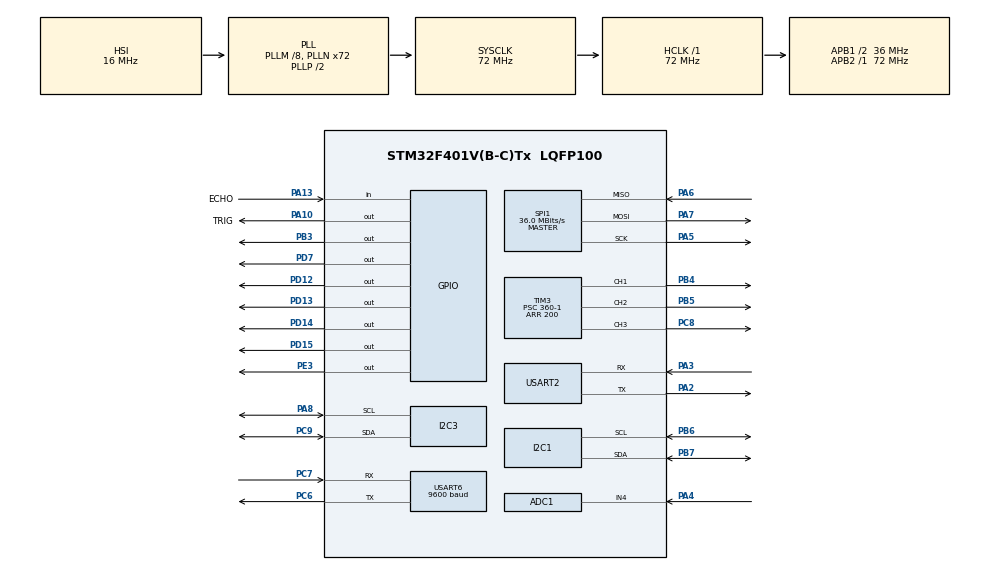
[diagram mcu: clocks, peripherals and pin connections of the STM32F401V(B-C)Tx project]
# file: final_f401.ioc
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ADC1.Channel-0\#ChannelRegularConversion=ADC_CHANNEL_4
ADC1.NbrOfConversionFlag=1
ADC1.Rank-0\#ChannelRegularConversion=1
ADC1.SamplingTime-0\#ChannelRegularConversion=ADC_SAMPLETIME_3CYCLES
ADC1.master=1
Mcu.Family=STM32F4
Mcu.Name=STM32F401V(B-C)Tx
Mcu.Package=LQFP100
NVIC.PriorityGroup=NVIC_PRIORITYGROUP_4
NVIC.TIM2_IRQn=true\:0\:0\:false\:false\:true\:true\:true
NVIC.TIM3_IRQn=true\:0\:0\:false\:false\:true\:true\:true
NVIC.TIM4_IRQn=true\:0\:0\:false\:false\:true\:true\:true
NVIC.USART2_IRQn=true\:0\:0\:false\:false\:true\:true\:true
NVIC.USART6_IRQn=true\:0\:0\:false\:false\:true\:true\:true
PA10.GPIO_Label=TRIG
PA10.Signal=GPIO_Output
PA13.GPIO_Label=ECHO
PA13.GPIO_PuPd=GPIO_NOPULL
PA13.Signal=GPIO_Input
PA2.Mode=Asynchronous
PA2.Signal=USART2_TX
PA3.Mode=Asynchronous
PA3.Signal=USART2_RX
PA4.Signal=ADCx_IN4
PA5.Mode=Full_Duplex_Master
PA5.Signal=SPI1_SCK
PA6.Mode=Full_Duplex_Master
PA6.Signal=SPI1_MISO
PA7.Mode=Full_Duplex_Master
PA7.Signal=SPI1_MOSI
PA8.Mode=I2C
PA8.Signal=I2C3_SCL
PB3.Signal=GPIO_Output
PB4.Signal=S_TIM3_CH1
PB5.Signal=S_TIM3_CH2
PB6.Mode=I2C
PB6.Signal=I2C1_SCL
PB7.Mode=I2C
PB7.Signal=I2C1_SDA
PC14-OSC32_IN.Mode=LSE-External-Oscillator
PC14-OSC32_IN.Signal=RCC_OSC32_IN
PC15-OSC32_OUT.Mode=LSE-External-Oscillator
PC15-OSC32_OUT.Signal=RCC_OSC32_OUT
PC6.Mode=Asynchronous
PC6.Signal=USART6_TX
PC7.Mode=Asynchronous
PC7.Signal=USART6_RX
PC8.Signal=S_TIM3_CH3
PC9.Mode=I2C
PC9.Signal=I2C3_SDA
PD12.Signal=GPIO_Output
PD13.Signal=GPIO_Output
PD14.Signal=GPIO_Output
PD15.Signal=GPIO_Output
PD7.Signal=GPIO_Output
PE3.Signal=GPIO_Output
PH0\ -\ OSC_IN.Mode=HSE-External-Oscillator
PH0\ -\ OSC_IN.Signal=RCC_OSC_IN
PH1\ -\ OSC_OUT.Mode=HSE-External-Oscillator
PH1\ -\ OSC_OUT.Signal=RCC_OSC_OUT
ProjectManager.HeapSize=0x200
ProjectManager.StackSize=0x400
ProjectManager.TargetToolchain=STM32CubeIDE
RCC.48MHZClocksFreq_Value=36000000
RCC.AHBFreq_Value=72000000
RCC.APB1CLKDivider=RCC_HCLK_DIV2
RCC.APB1Freq_Value=36000000
RCC.APB1TimFreq_Value=72000000
RCC.APB2Freq_Value=72000000
RCC.APB2TimFreq_Value=72000000
RCC.CortexFreq_Value=72000000
RCC.HCLKFreq_Value=72000000
RCC.HSE_VALUE=25000000
RCC.HSI_VALUE=16000000
RCC.PLLM=8
RCC.PLLN=72
RCC.SYSCLKFreq_VALUE=72000000
RCC.SYSCLKSource=RCC_SYSCLKSOURCE_PLLCLK
RCC.VCOOutputFreq_Value=144000000
SH.ADCx_IN4.0=ADC1_IN4,IN4
SH.S_TIM3_CH1.0=TIM3_CH1,PWM Generation1 CH1
SH.S_TIM3_CH2.0=TIM3_CH2,PWM Generation2 CH2
SH.S_TIM3_CH3.0=TIM3_CH3,PWM Generation3 CH3
SPI1.CLKPhase=SPI_PHASE_2EDGE
SPI1.CLKPolarity=SPI_POLARITY_HIGH
SPI1.CalculateBaudRate=36.0 MBits/s
SPI1.Direction=SPI_DIRECTION_2LINES
SPI1.Mode=SPI_MODE_MASTER
SPI1.VirtualType=VM_MASTER
TIM2.Period=2000
TIM2.Prescaler=720-1
TIM3.Channel-PWM\ Generation1\ CH1=TIM_CHANNEL_1
TIM3.Channel-PWM\ Generation2\ CH2=TIM_CHANNEL_2
TIM3.Channel-PWM\ Generation3\ CH3=TIM_CHANNEL_3
TIM3.Period=200
TIM3.Prescaler=360-1
TIM4.Period=0
TIM4.Prescaler=72-1
USART2.VirtualMode=VM_ASYNC
USART6.BaudRate=9600
USART6.VirtualMode=VM_ASYNC
VP_TIM2_VS_ClockSourceINT.Mode=Internal
VP_TIM3_VS_ClockSourceINT.Mode=Internal
VP_TIM4_VS_ClockSourceINT.Mode=Internal
board=custom

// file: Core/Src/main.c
/* USER CODE BEGIN Header */
/**
  ******************************************************************************
  * @file           : main.c
  * @brief          : Main program body
  ******************************************************************************
  * @attention
  *
  * <h2><center>&copy; Copyright (c) 2021 STMicroelectronics.
  * All rights reserved.</center></h2>
  *
  * This software component is licensed by ST under BSD 3-Clause license,
  * the "License"; You may not use this file except in compliance with the
  * License. You may obtain a copy of the License at:
  *                        opensource.org/licenses/BSD-3-Clause
  *
  ******************************************************************************
  */
/* USER CODE END Header */
#include "main.h"

/* USER CODE BEGIN Includes */
// ================================================================================================= include
#include <string.h>
#include <stdio.h>
#include <math.h>
#include "stm32f4xx.h"
#include "stm32f401_discovery_gyroscope.h"
#include "stm32f401_discovery_accelerometer.h"
#include "lcd16x2_i2c.h"
//need to addd flag -u _printf_float
/* USER CODE END Includes */

/* USER CODE BEGIN PTD */
// ================================================================================================= PTD
#define usTIM	TIM4
/* USER CODE END PTD */

ADC_HandleTypeDef hadc1;

I2C_HandleTypeDef hi2c1;
I2C_HandleTypeDef hi2c3;

SPI_HandleTypeDef hspi1;

TIM_HandleTypeDef htim2;
TIM_HandleTypeDef htim3;
TIM_HandleTypeDef htim4;

UART_HandleTypeDef huart2;
UART_HandleTypeDef huart6;

void SystemClock_Config(void);
static void MX_GPIO_Init(void);
static void MX_TIM3_Init(void);
static void MX_TIM4_Init(void);
static void MX_USART6_UART_Init(void);
static void MX_I2C1_Init(void);
static void MX_SPI1_Init(void);
static void MX_ADC1_Init(void);
static void MX_I2C3_Init(void);
static void MX_USART2_UART_Init(void);
static void MX_TIM2_Init(void);
/* USER CODE BEGIN PFP */
// ================================================================================================= function PT
void setMotor(int Speed_L, int Speed_R);
int map(int src, int a_1, int a_2, int b_1, int b_2);
void getADCValue();
void getDistance();
void getGYROandACCR();
void usDelay(uint32_t uSec);
void checkSaveDistance();
void setBuzzer();
/* USER CODE END PFP */

/* USER CODE BEGIN 0 */
// ================================================================================================= begin 0
// for uart
unsigned char uRx_byte;
unsigned char uTx_data[40];
//unsigned char uTx_Data[100];

// for gyroscope and accelerometer
float pfData[3];
int16_t pDataXYZ[3];

int pwmVal = 0;
int count_tim2 = 0;
int Speed_L = 0, Speed_R = 0; // -2, -1, 0, 1, 2

// for sr04 and adc
uint16_t adc_value = 0;
uint16_t limit_range_cm = 10; // 10 cm ~ 50 cm
const float speedOfSound = 0.0343/2;
float distance;
/* USER CODE END 0 */

int main(void)
{

  /* MCU Configuration--------------------------------------------------------*/

  /* Reset of all peripherals, Initializes the Flash interface and the Systick. */
  HAL_Init();

  /* Configure the system clock */
  SystemClock_Config();

  /* Initialize all configured peripherals */
  MX_GPIO_Init();
  MX_TIM3_Init();
  MX_TIM4_Init();
  MX_USART6_UART_Init();
  MX_I2C1_Init();
  MX_SPI1_Init();
  MX_ADC1_Init();
  MX_I2C3_Init();
  MX_USART2_UART_Init();
  MX_TIM2_Init();
  /* USER CODE BEGIN 2 */
  // ================================================================================================= begin 2
  BSP_GYRO_Init();
  BSP_ACCELERO_Init();

  HAL_UART_Receive_IT(&huart2, &uRx_byte, 1);
  HAL_UART_Receive_IT(&huart6, &uRx_byte, 1);

  // for motor pwm
  HAL_TIM_Base_Start_IT(&htim2);
  HAL_TIM_PWM_Start(&htim3, TIM_CHANNEL_1);
  HAL_TIM_PWM_Start(&htim3, TIM_CHANNEL_2);
  // for buzzer pwm
  HAL_TIM_PWM_Start(&htim3, TIM_CHANNEL_3);

  // for 16x2 lcd
  lcd16x2_i2c_init(&hi2c3);
  lcd16x2_i2c_printf("PRINT_TEST");

  setMotor(0, 0);
  /* USER CODE END 2 */

  /* Infinite loop */
  while (1)
  {

    /* USER CODE BEGIN 3 */
	// ================================================================================================= begin 3
	  //getDistance();
	  checkSaveDistance();
	  setMotor(Speed_L, Speed_R);

	  //HAL_Delay(0.1);
  }
  /* USER CODE END 3 */
}

void SystemClock_Config(void)
{
  RCC_OscInitTypeDef RCC_OscInitStruct = {0};
  RCC_ClkInitTypeDef RCC_ClkInitStruct = {0};

  /** Configure the main internal regulator output voltage
  */
  __HAL_RCC_PWR_CLK_ENABLE();
  __HAL_PWR_VOLTAGESCALING_CONFIG(PWR_REGULATOR_VOLTAGE_SCALE2);
  /** Initializes the RCC Oscillators according to the specified parameters
  * in the RCC_OscInitTypeDef structure.
  */
  RCC_OscInitStruct.OscillatorType = RCC_OSCILLATORTYPE_HSI;
  RCC_OscInitStruct.HSIState = RCC_HSI_ON;
  RCC_OscInitStruct.HSICalibrationValue = RCC_HSICALIBRATION_DEFAULT;
  RCC_OscInitStruct.PLL.PLLState = RCC_PLL_ON;
  RCC_OscInitStruct.PLL.PLLSource = RCC_PLLSOURCE_HSI;
  RCC_OscInitStruct.PLL.PLLM = 8;
  RCC_OscInitStruct.PLL.PLLN = 72;
  RCC_OscInitStruct.PLL.PLLP = RCC_PLLP_DIV2;
  RCC_OscInitStruct.PLL.PLLQ = 4;
  if (HAL_RCC_OscConfig(&RCC_OscInitStruct) != HAL_OK)
  {
    Error_Handler();
  }
  /** Initializes the CPU, AHB and APB buses clocks
  */
  RCC_ClkInitStruct.ClockType = RCC_CLOCKTYPE_HCLK|RCC_CLOCKTYPE_SYSCLK
                              |RCC_CLOCKTYPE_PCLK1|RCC_CLOCKTYPE_PCLK2;
  RCC_ClkInitStruct.SYSCLKSource = RCC_SYSCLKSOURCE_PLLCLK;
  RCC_ClkInitStruct.AHBCLKDivider = RCC_SYSCLK_DIV1;
  RCC_ClkInitStruct.APB1CLKDivider = RCC_HCLK_DIV2;
  RCC_ClkInitStruct.APB2CLKDivider = RCC_HCLK_DIV1;

  if (HAL_RCC_ClockConfig(&RCC_ClkInitStruct, FLASH_LATENCY_2) != HAL_OK)
  {
    Error_Handler();
  }
}

static void MX_ADC1_Init(void)
{

  ADC_ChannelConfTypeDef sConfig = {0};

  /** Configure the global features of the ADC (Clock, Resolution, Data Alignment and number of conversion)
  */
  hadc1.Instance = ADC1;
  hadc1.Init.ClockPrescaler = ADC_CLOCK_SYNC_PCLK_DIV2;
  hadc1.Init.Resolution = ADC_RESOLUTION_12B;
  hadc1.Init.ScanConvMode = DISABLE;
  hadc1.Init.ContinuousConvMode = DISABLE;
  hadc1.Init.DiscontinuousConvMode = DISABLE;
  hadc1.Init.ExternalTrigConvEdge = ADC_EXTERNALTRIGCONVEDGE_NONE;
  hadc1.Init.ExternalTrigConv = ADC_SOFTWARE_START;
  hadc1.Init.DataAlign = ADC_DATAALIGN_RIGHT;
  hadc1.Init.NbrOfConversion = 1;
  hadc1.Init.DMAContinuousRequests = DISABLE;
  hadc1.Init.EOCSelection = ADC_EOC_SINGLE_CONV;
  if (HAL_ADC_Init(&hadc1) != HAL_OK)
  {
    Error_Handler();
  }
  /** Configure for the selected ADC regular channel its corresponding rank in the sequencer and its sample time.
  */
  sConfig.Channel = ADC_CHANNEL_4;
  sConfig.Rank = 1;
  sConfig.SamplingTime = ADC_SAMPLETIME_3CYCLES;
  if (HAL_ADC_ConfigChannel(&hadc1, &sConfig) != HAL_OK)
  {
    Error_Handler();
  }

}

static void MX_I2C1_Init(void)
{

  hi2c1.Instance = I2C1;
  hi2c1.Init.ClockSpeed = 100000;
  hi2c1.Init.DutyCycle = I2C_DUTYCYCLE_2;
  hi2c1.Init.OwnAddress1 = 0;
  hi2c1.Init.AddressingMode = I2C_ADDRESSINGMODE_7BIT;
  hi2c1.Init.DualAddressMode = I2C_DUALADDRESS_DISABLE;
  hi2c1.Init.OwnAddress2 = 0;
  hi2c1.Init.GeneralCallMode = I2C_GENERALCALL_DISABLE;
  hi2c1.Init.NoStretchMode = I2C_NOSTRETCH_DISABLE;
  if (HAL_I2C_Init(&hi2c1) != HAL_OK)
  {
    Error_Handler();
  }

}

static void MX_I2C3_Init(void)
{

  hi2c3.Instance = I2C3;
  hi2c3.Init.ClockSpeed = 100000;
  hi2c3.Init.DutyCycle = I2C_DUTYCYCLE_2;
  hi2c3.Init.OwnAddress1 = 0;
  hi2c3.Init.AddressingMode = I2C_ADDRESSINGMODE_7BIT;
  hi2c3.Init.DualAddressMode = I2C_DUALADDRESS_DISABLE;
  hi2c3.Init.OwnAddress2 = 0;
  hi2c3.Init.GeneralCallMode = I2C_GENERALCALL_DISABLE;
  hi2c3.Init.NoStretchMode = I2C_NOSTRETCH_DISABLE;
  if (HAL_I2C_Init(&hi2c3) != HAL_OK)
  {
    Error_Handler();
  }

}

static void MX_SPI1_Init(void)
{

  /* SPI1 parameter configuration*/
  hspi1.Instance = SPI1;
  hspi1.Init.Mode = SPI_MODE_MASTER;
  hspi1.Init.Direction = SPI_DIRECTION_2LINES;
  hspi1.Init.DataSize = SPI_DATASIZE_8BIT;
  hspi1.Init.CLKPolarity = SPI_POLARITY_HIGH;
  hspi1.Init.CLKPhase = SPI_PHASE_2EDGE;
  hspi1.Init.NSS = SPI_NSS_SOFT;
  hspi1.Init.BaudRatePrescaler = SPI_BAUDRATEPRESCALER_2;
  hspi1.Init.FirstBit = SPI_FIRSTBIT_MSB;
  hspi1.Init.TIMode = SPI_TIMODE_DISABLE;
  hspi1.Init.CRCCalculation = SPI_CRCCALCULATION_DISABLE;
  hspi1.Init.CRCPolynomial = 10;
  if (HAL_SPI_Init(&hspi1) != HAL_OK)
  {
    Error_Handler();
  }

}

static void MX_TIM2_Init(void)
{

  TIM_ClockConfigTypeDef sClockSourceConfig = {0};
  TIM_MasterConfigTypeDef sMasterConfig = {0};

  htim2.Instance = TIM2;
  htim2.Init.Prescaler = 720-1;
  htim2.Init.CounterMode = TIM_COUNTERMODE_UP;
  htim2.Init.Period = 2000;
  htim2.Init.ClockDivision = TIM_CLOCKDIVISION_DIV1;
  htim2.Init.AutoReloadPreload = TIM_AUTORELOAD_PRELOAD_DISABLE;
  if (HAL_TIM_Base_Init(&htim2) != HAL_OK)
  {
    Error_Handler();
  }
  sClockSourceConfig.ClockSource = TIM_CLOCKSOURCE_INTERNAL;
  if (HAL_TIM_ConfigClockSource(&htim2, &sClockSourceConfig) != HAL_OK)
  {
    Error_Handler();
  }
  sMasterConfig.MasterOutputTrigger = TIM_TRGO_RESET;
  sMasterConfig.MasterSlaveMode = TIM_MASTERSLAVEMODE_DISABLE;
  if (HAL_TIMEx_MasterConfigSynchronization(&htim2, &sMasterConfig) != HAL_OK)
  {
    Error_Handler();
  }

}

static void MX_TIM3_Init(void)
{

  TIM_ClockConfigTypeDef sClockSourceConfig = {0};
  TIM_MasterConfigTypeDef sMasterConfig = {0};
  TIM_OC_InitTypeDef sConfigOC = {0};

  htim3.Instance = TIM3;
  htim3.Init.Prescaler = 360-1;
  htim3.Init.CounterMode = TIM_COUNTERMODE_UP;
  htim3.Init.Period = 200;
  htim3.Init.ClockDivision = TIM_CLOCKDIVISION_DIV1;
  htim3.Init.AutoReloadPreload = TIM_AUTORELOAD_PRELOAD_DISABLE;
  if (HAL_TIM_Base_Init(&htim3) != HAL_OK)
  {
    Error_Handler();
  }
  sClockSourceConfig.ClockSource = TIM_CLOCKSOURCE_INTERNAL;
  if (HAL_TIM_ConfigClockSource(&htim3, &sClockSourceConfig) != HAL_OK)
  {
    Error_Handler();
  }
  if (HAL_TIM_PWM_Init(&htim3) != HAL_OK)
  {
    Error_Handler();
  }
  sMasterConfig.MasterOutputTrigger = TIM_TRGO_RESET;
  sMasterConfig.MasterSlaveMode = TIM_MASTERSLAVEMODE_DISABLE;
  if (HAL_TIMEx_MasterConfigSynchronization(&htim3, &sMasterConfig) != HAL_OK)
  {
    Error_Handler();
  }
  sConfigOC.OCMode = TIM_OCMODE_PWM1;
  sConfigOC.Pulse = 0;
  sConfigOC.OCPolarity = TIM_OCPOLARITY_HIGH;
  sConfigOC.OCFastMode = TIM_OCFAST_DISABLE;
  if (HAL_TIM_PWM_ConfigChannel(&htim3, &sConfigOC, TIM_CHANNEL_1) != HAL_OK)
  {
    Error_Handler();
  }
  if (HAL_TIM_PWM_ConfigChannel(&htim3, &sConfigOC, TIM_CHANNEL_2) != HAL_OK)
  {
    Error_Handler();
  }
  if (HAL_TIM_PWM_ConfigChannel(&htim3, &sConfigOC, TIM_CHANNEL_3) != HAL_OK)
  {
    Error_Handler();
  }
  HAL_TIM_MspPostInit(&htim3);

}

static void MX_TIM4_Init(void)
{

  TIM_ClockConfigTypeDef sClockSourceConfig = {0};
  TIM_MasterConfigTypeDef sMasterConfig = {0};

  htim4.Instance = TIM4;
  htim4.Init.Prescaler = 72-1;
  htim4.Init.CounterMode = TIM_COUNTERMODE_UP;
  htim4.Init.Period = 0;
  htim4.Init.ClockDivision = TIM_CLOCKDIVISION_DIV1;
  htim4.Init.AutoReloadPreload = TIM_AUTORELOAD_PRELOAD_DISABLE;
  if (HAL_TIM_Base_Init(&htim4) != HAL_OK)
  {
    Error_Handler();
  }
  sClockSourceConfig.ClockSource = TIM_CLOCKSOURCE_INTERNAL;
  if (HAL_TIM_ConfigClockSource(&htim4, &sClockSourceConfig) != HAL_OK)
  {
    Error_Handler();
  }
  sMasterConfig.MasterOutputTrigger = TIM_TRGO_RESET;
  sMasterConfig.MasterSlaveMode = TIM_MASTERSLAVEMODE_DISABLE;
  if (HAL_TIMEx_MasterConfigSynchronization(&htim4, &sMasterConfig) != HAL_OK)
  {
    Error_Handler();
  }

}

static void MX_USART2_UART_Init(void)
{

  huart2.Instance = USART2;
  huart2.Init.BaudRate = 115200;
  huart2.Init.WordLength = UART_WORDLENGTH_8B;
  huart2.Init.StopBits = UART_STOPBITS_1;
  huart2.Init.Parity = UART_PARITY_NONE;
  huart2.Init.Mode = UART_MODE_TX_RX;
  huart2.Init.HwFlowCtl = UART_HWCONTROL_NONE;
  huart2.Init.OverSampling = UART_OVERSAMPLING_16;
  if (HAL_UART_Init(&huart2) != HAL_OK)
  {
    Error_Handler();
  }

}

static void MX_USART6_UART_Init(void)
{

  /* USER CODE BEGIN USART6_Init 0 */
  // ========================================================================= UART 6 for BT
  /* USER CODE END USART6_Init 0 */

  huart6.Instance = USART6;
  huart6.Init.BaudRate = 9600;
  huart6.Init.WordLength = UART_WORDLENGTH_8B;
  huart6.Init.StopBits = UART_STOPBITS_1;
  huart6.Init.Parity = UART_PARITY_NONE;
  huart6.Init.Mode = UART_MODE_TX_RX;
  huart6.Init.HwFlowCtl = UART_HWCONTROL_NONE;
  huart6.Init.OverSampling = UART_OVERSAMPLING_16;
  if (HAL_UART_Init(&huart6) != HAL_OK)
  {
    Error_Handler();
  }

}

static void MX_GPIO_Init(void)
{
  GPIO_InitTypeDef GPIO_InitStruct = {0};

  /* GPIO Ports Clock Enable */
  __HAL_RCC_GPIOE_CLK_ENABLE();
  __HAL_RCC_GPIOC_CLK_ENABLE();
  __HAL_RCC_GPIOH_CLK_ENABLE();
  __HAL_RCC_GPIOA_CLK_ENABLE();
  __HAL_RCC_GPIOD_CLK_ENABLE();
  __HAL_RCC_GPIOB_CLK_ENABLE();

  /*Configure GPIO pin Output Level */
  HAL_GPIO_WritePin(GPIOE, GPIO_PIN_3, GPIO_PIN_RESET);

  /*Configure GPIO pin Output Level */
  HAL_GPIO_WritePin(GPIOD, GPIO_PIN_12|GPIO_PIN_13|GPIO_PIN_14|GPIO_PIN_15
                          |GPIO_PIN_7, GPIO_PIN_RESET);

  /*Configure GPIO pin Output Level */
  HAL_GPIO_WritePin(TRIG_GPIO_Port, TRIG_Pin, GPIO_PIN_RESET);

  /*Configure GPIO pin Output Level */
  HAL_GPIO_WritePin(GPIOB, GPIO_PIN_3, GPIO_PIN_RESET);

  /*Configure GPIO pin : PE3 */
  GPIO_InitStruct.Pin = GPIO_PIN_3;
  GPIO_InitStruct.Mode = GPIO_MODE_OUTPUT_PP;
  GPIO_InitStruct.Pull = GPIO_NOPULL;
  GPIO_InitStruct.Speed = GPIO_SPEED_FREQ_LOW;
  HAL_GPIO_Init(GPIOE, &GPIO_InitStruct);

  /*Configure GPIO pins : PD12 PD13 PD14 PD15
                           PD7 */
  GPIO_InitStruct.Pin = GPIO_PIN_12|GPIO_PIN_13|GPIO_PIN_14|GPIO_PIN_15
                          |GPIO_PIN_7;
  GPIO_InitStruct.Mode = GPIO_MODE_OUTPUT_PP;
  GPIO_InitStruct.Pull = GPIO_NOPULL;
  GPIO_InitStruct.Speed = GPIO_SPEED_FREQ_LOW;
  HAL_GPIO_Init(GPIOD, &GPIO_InitStruct);

  /*Configure GPIO pin : TRIG_Pin */
  GPIO_InitStruct.Pin = TRIG_Pin;
  GPIO_InitStruct.Mode = GPIO_MODE_OUTPUT_PP;
  GPIO_InitStruct.Pull = GPIO_NOPULL;
  GPIO_InitStruct.Speed = GPIO_SPEED_FREQ_LOW;
  HAL_GPIO_Init(TRIG_GPIO_Port, &GPIO_InitStruct);

  /*Configure GPIO pin : ECHO_Pin */
  GPIO_InitStruct.Pin = ECHO_Pin;
  GPIO_InitStruct.Mode = GPIO_MODE_INPUT;
  GPIO_InitStruct.Pull = GPIO_NOPULL;
  HAL_GPIO_Init(ECHO_GPIO_Port, &GPIO_InitStruct);

  /*Configure GPIO pin : PB3 */
  GPIO_InitStruct.Pin = GPIO_PIN_3;
  GPIO_InitStruct.Mode = GPIO_MODE_OUTPUT_PP;
  GPIO_InitStruct.Pull = GPIO_NOPULL;
  GPIO_InitStruct.Speed = GPIO_SPEED_FREQ_LOW;
  HAL_GPIO_Init(GPIOB, &GPIO_InitStruct);

}

/* USER CODE BEGIN 4 */
// ================================================================================================= begin 4
void HAL_UART_RxCpltCallback(UART_HandleTypeDef *huart)
{
	if(huart->Instance == USART2)
	{
		HAL_UART_Transmit_IT(&huart2, &uRx_byte, 1);
		HAL_UART_Receive_IT(&huart2, &uRx_byte, 1);
		//HAL_UART_Transmit_IT(&huart6, &uRx_byte, 1);
		HAL_GPIO_TogglePin(GPIOD, GPIO_PIN_14); // red
	}
	if(huart->Instance == USART6) // BT
	{
		HAL_GPIO_TogglePin(GPIOD, GPIO_PIN_15); // blue
		// HAL_UART_Transmit_IT(&huart2, &uRx_byte, 1);
		HAL_UART_Transmit_IT(&huart2, &uRx_byte, 1); // trans to debug
		switch(uRx_byte)
		{
		  case '0': Speed_L =  0; Speed_R =  0; break;
		  case '1': Speed_L =  1; Speed_R =  1; break;
		  case '2': Speed_L =  2; Speed_R =  2; break;
		  case '3': Speed_L = -1; Speed_R = -1; break;
		  case '4': Speed_L = -2; Speed_R = -2; break;
		  case '5': Speed_L =  1; Speed_R =  0; break;
		  case '6': Speed_L =  2; Speed_R =  0; break;
		  case '7': Speed_L =  2; Speed_R =  1; break;
		  case '8': Speed_L = -2; Speed_R = -1; break;
		  case '9': Speed_L =  0; Speed_R =  1; break;
		  case 'a': Speed_L =  0; Speed_R =  2; break;
		  case 'b': Speed_L =  1; Speed_R =  2; break;
		  case 'c': Speed_L = -1; Speed_R = -2; break;
		  default : Speed_L =  0; Speed_R =  0; break;
		}
		HAL_UART_Receive_IT(&huart6, &uRx_byte, 1);
		//checkSaveDistance();
		//setMotor(Speed_L, Speed_R);
	}
}

void HAL_TIM_PeriodElapsedCallback(TIM_HandleTypeDef *htim)
{
  count_tim2++;
  // Check which version of the timer triggered this callback and toggle LED

  if (htim == &htim2 ) // 25 round per 1 sec
  {
	if(count_tim2 % 5 == 0)
	{
		getADCValue();
		getGYROandACCR();
	}
	else if(count_tim2 % 5 == 1)
	{
	  printLcd();
	}
	else if(count_tim2 % 5 == 2)
	{
	  transmitData();
	}
	else if(count_tim2 % 5 == 3)
	{
	  getDistance();
	  //checkSaveDistance();
	}
	else // %5 == 4
	{
		setBuzzer();
	}
    //HAL_GPIO_TogglePin(GPIOD, GPIO_PIN_14); // red

  }
}

// ================================================================================================= transmit data
void transmitData()
{
	int temp_G[3], temp_A[3];
	int i;
	for(i = 0; i < 3; i++) temp_G[i] = map((int)(pfData[i] * 1), -30000, 30000, 0, 32675);
	for(i = 0; i < 3; i++) temp_A[i] = map((int)(pDataXYZ[i] ), -20000, 20000, 0, 32675);
	sprintf(uTx_data, "=%d%d%05d%05d%05d%05d%05d%05d@\0", Speed_L + 2, Speed_R + 2, temp_G[0], temp_G[1], temp_G[2], temp_A[0], temp_A[1], temp_A[2]);
	HAL_UART_Transmit_IT(&huart2, &uTx_data, sizeof(uTx_data)); // for debug
	HAL_UART_Transmit_IT(&huart6, &uTx_data, sizeof(uTx_data)); // gor BT
}

// ================================================================================================= print_lcd
void printLcd()
{
	//unsigned char line1[20];
	// speed add 2 to trans from [-2, 2] to [0, 4]
	//sprintf(line1, "%c%d SET:%2dcm R%c%d", );
	lcd16x2_i2c_setCursor(0, 0);
	lcd16x2_i2c_printf("%c%dL SET:%2dcm R%c%d",
			            (Speed_L >= 0 ? '+' : '-'), (Speed_L >= 0 ? Speed_L : -Speed_L),
			            limit_range_cm,
			            (Speed_R >= 0 ? '+' : '-'), (Speed_R >= 0 ? Speed_R : -Speed_R)
			          );
	lcd16x2_i2c_setCursor(1, 0);
	lcd16x2_i2c_printf(" GET:%5dcm", (int)distance);
	//lcd16x2_i2c_printf("bzr_value:%5d ", pwmVal);
}

// ================================================================================================= adc vaule
void getADCValue()
{
  HAL_ADC_Start(&hadc1);
  // Poll ADC1 Perihperal & TimeOut = 1mSec
  HAL_ADC_PollForConversion(&hadc1, 1);
  // Read The ADC Conversion Result
  adc_value = HAL_ADC_GetValue(&hadc1);
  //unsigned char test[50];
  //sprintf((char *)test, "ADC:%d\n\r", adc_value); //GYRO
  //HAL_UART_Transmit_IT(&huart2, (unsigned char *)&test, strlen((const char *)test));
  limit_range_cm = map(adc_value, 0, 4096, 10, 50);
}

void checkSaveDistance()
{
	if((int)distance <= (int)limit_range_cm)
	{
		if(Speed_R > 0) Speed_R = 0;
		if(Speed_L > 0) Speed_L = 0;
	}
}

// ================================================================================================= set motor
void setMotor(int Speed_L, int Speed_R) // setting motor
{
  //      | left (B) | right(A)
  // -----+----------+-----------
  // GPIO |   PB3    |   PD7
  // PWM  | PB5 (ch2)| PB4 (ch1)
  // PWM Timer: TIM3
  // speed from -2 to +2

  // set left motor  ==> B
  if(Speed_L > 0)
  {
	HAL_GPIO_WritePin(GPIOB, GPIO_PIN_3, GPIO_PIN_RESET);
	__HAL_TIM_SetCompare(&htim3, TIM_CHANNEL_2, map(Speed_L, 0, 2, 50, 180));
  }
  else if(Speed_L < 0)
  {
	HAL_GPIO_WritePin(GPIOB, GPIO_PIN_3, GPIO_PIN_SET);
	__HAL_TIM_SetCompare(&htim3, TIM_CHANNEL_2, map(Speed_L, -2, 0, 20, 150));
  }
  else // (Speed_L == 0)
  {
	HAL_GPIO_WritePin(GPIOB, GPIO_PIN_3, GPIO_PIN_RESET);
	__HAL_TIM_SetCompare(&htim3, TIM_CHANNEL_2, 0);
  }

  // set right motor  ==> A
  if(Speed_R > 0)
  {
	HAL_GPIO_WritePin(GPIOD, GPIO_PIN_7, GPIO_PIN_RESET);
	__HAL_TIM_SetCompare(&htim3, TIM_CHANNEL_1, map(Speed_R, 0, 2, 50, 180));
  }
  else if(Speed_R < 0)
  {
	HAL_GPIO_WritePin(GPIOD, GPIO_PIN_7, GPIO_PIN_SET);
	__HAL_TIM_SetCompare(&htim3, TIM_CHANNEL_1, map(Speed_R, -2, 0, 20, 150));
  }
  else // (Speed_R == 0)
  {
	HAL_GPIO_WritePin(GPIOD, GPIO_PIN_7, GPIO_PIN_RESET);
	__HAL_TIM_SetCompare(&htim3, TIM_CHANNEL_1, 0);
  }
}

void setBuzzer()
{
	// beep range form limit distance to limit distance + 30
	if((int)distance > limit_range_cm + 30)
	{
		pwmVal = 0;
		__HAL_TIM_SetCompare(&htim3, TIM_CHANNEL_3, 0);
	}
	else if ((int)distance < limit_range_cm)
	{
		pwmVal = 200;
		__HAL_TIM_SetCompare(&htim3, TIM_CHANNEL_3, 200);
	}
	else
	{
		pwmVal = map((int)distance, (int)limit_range_cm + 30, (int)limit_range_cm, 0, 100);
		__HAL_TIM_SetCompare(&htim3, TIM_CHANNEL_3, pwmVal);
	}
	//lcd16x2_i2c_printf("bzr_value:%6d", pwmVal);

}

// ========================================================================================== map function
int map(int src, int a_1, int a_2, int b_1, int b_2)
{
	if(a_1 == a_2) return 0;
	float m = 1.0 * (b_2 - b_1) / (a_2 - a_1);
	return (int)(m * (src- a_1) + b_1 + 0.5); // 4 out 5 in
}

// ========================================================================================== get distance
void getDistance()
{

	uint32_t numTicks = 0;
	HAL_GPIO_WritePin(GPIOA, GPIO_PIN_10, GPIO_PIN_RESET);
	usDelay(3);

    // START Ultrasonic measure routine
	//1. Output 10 usec TRIG
	HAL_GPIO_WritePin(GPIOA, GPIO_PIN_10, GPIO_PIN_SET);
	usDelay(10);
	HAL_GPIO_WritePin(GPIOA, GPIO_PIN_10, GPIO_PIN_RESET);

	//2. Wait for ECHO pin rising edge
	while(1)
	{
		if(HAL_GPIO_ReadPin(GPIOA, GPIO_PIN_13) == GPIO_PIN_RESET) usDelay(1);
		else break;
	}

	//3. Start measuring ECHO pulse width in usec
	numTicks = 0;
	while(1)
	{
		if(HAL_GPIO_ReadPin(GPIOA, GPIO_PIN_13) == GPIO_PIN_SET)
		{
			numTicks++;
			usDelay(2); //2.8usec
		}
		else break;
	}

	//4. Estimate distance in cm
	distance = numTicks * 2.8 * speedOfSound;

	//lcd16x2_i2c_setCursor(1, 0);
	//lcd16x2_i2c_printf("GET:");
	//lcd16x2_i2c_printf(" GET:%5dcm", (int)distance);

}

// ===================================================================================================== delay us
void usDelay(uint32_t uSec)
{
	if(uSec < 2) uSec = 2;
	usTIM->ARR = uSec - 1; 	/*sets the value in the auto-reload register*/
	usTIM->EGR = 1; 			/*Re-initialises the timer*/
	usTIM->SR &= ~1; 		//Resets the flag
	usTIM->CR1 |= 1; 		//Enables the counter
	while((usTIM->SR&0x0001) != 1);
	usTIM->SR &= ~(0x0001);
}

// ===================================================================================================== get gyro and accer
void getGYROandACCR()
{
	BSP_GYRO_GetXYZ(pfData);
	BSP_ACCELERO_GetXYZ(pDataXYZ);
}
/* USER CODE END 4 */

void Error_Handler(void)
{
  __disable_irq();
  while (1)
  {
  }
}

/************************ (C) COPYRIGHT STMicroelectronics *****END OF FILE****/
